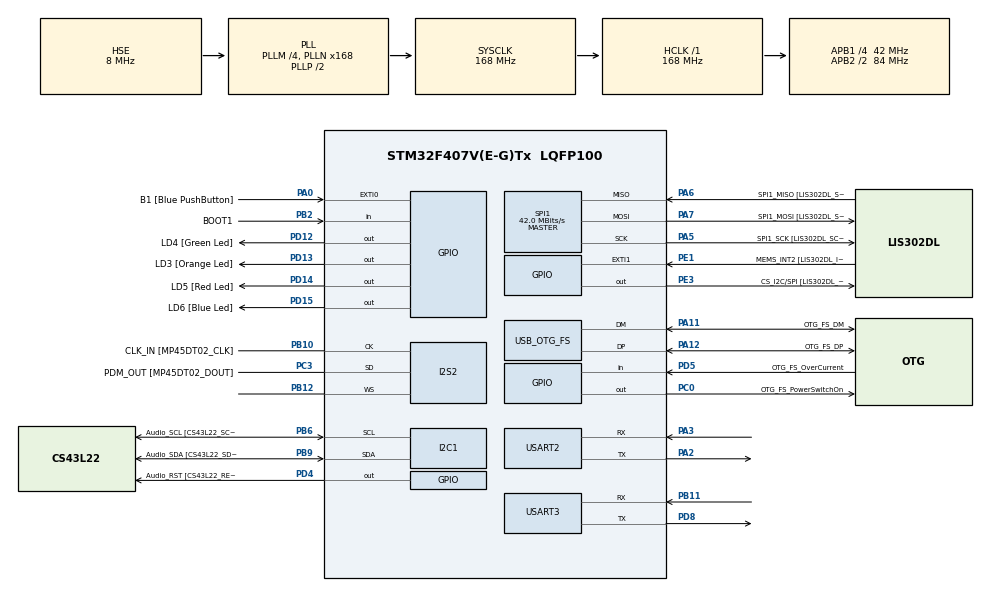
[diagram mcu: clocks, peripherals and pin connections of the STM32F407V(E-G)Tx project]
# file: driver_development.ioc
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Dma.Request0=SPI2_RX
Dma.SPI2_RX.0.Direction=DMA_PERIPH_TO_MEMORY
Dma.SPI2_RX.0.FIFOMode=DMA_FIFOMODE_DISABLE
Dma.SPI2_RX.0.Instance=DMA1_Stream3
Dma.SPI2_RX.0.MemDataAlignment=DMA_MDATAALIGN_HALFWORD
Dma.SPI2_RX.0.MemInc=DMA_MINC_ENABLE
Dma.SPI2_RX.0.Mode=DMA_CIRCULAR
Dma.SPI2_RX.0.PeriphDataAlignment=DMA_PDATAALIGN_HALFWORD
Dma.SPI2_RX.0.PeriphInc=DMA_PINC_DISABLE
Dma.SPI2_RX.0.Priority=DMA_PRIORITY_LOW
FREERTOS.Tasks01=defaultTask,24,128,StartDefaultTask,Default,NULL,Dynamic,NULL,NULL
FREERTOS.configUSE_NEWLIB_REENTRANT=1
I2S2.AudioFreq=I2S_AUDIOFREQ_32K
I2S2.ErrorAudioFreq=-0.26 %
I2S2.FullDuplexMode=I2S_FULLDUPLEXMODE_DISABLE
I2S2.Instance=SPI$Index
I2S2.Mode=I2S_MODE_MASTER_RX
I2S2.RealAudioFreq=31.914 KHz
I2S2.Standard=I2S_STANDARD_MSB
I2S2.VirtualMode=I2S_MODE_MASTER
Mcu.Family=STM32F4
Mcu.Name=STM32F407V(E-G)Tx
Mcu.Package=LQFP100
NVIC.DMA1_Stream3_IRQn=true\:5\:0\:false\:false\:true\:true\:false\:true\:true
NVIC.OTG_FS_IRQn=true\:5\:0\:false\:false\:true\:true\:true\:true\:true
NVIC.PriorityGroup=NVIC_PRIORITYGROUP_4
NVIC.TIM1_UP_TIM10_IRQn=true\:15\:0\:false\:false\:true\:false\:false\:true\:true
NVIC.TimeBase=TIM1_UP_TIM10_IRQn
NVIC.TimeBaseIP=TIM1
NVIC.USART3_IRQn=true\:5\:0\:false\:false\:true\:true\:true\:true\:true
PA0-WKUP.GPIO_Label=B1 [Blue PushButton]
PA0-WKUP.Signal=GPXTI0
PA10.GPIO_Label=OTG_FS_ID
PA10.GPIO_Mode=GPIO_MODE_AF_PP
PA10.GPIO_PuPd=GPIO_NOPULL
PA10.GPIO_Speed=GPIO_SPEED_FREQ_LOW
PA10.Signal=USB_OTG_FS_ID
PA11.GPIO_Label=OTG_FS_DM
PA11.GPIO_Mode=GPIO_MODE_AF_PP
PA11.GPIO_PuPd=GPIO_NOPULL
PA11.GPIO_Speed=GPIO_SPEED_FREQ_LOW
PA11.Mode=Host_Only
PA11.Signal=USB_OTG_FS_DM
PA12.GPIO_Label=OTG_FS_DP
PA12.GPIO_Mode=GPIO_MODE_AF_PP
PA12.GPIO_PuPd=GPIO_NOPULL
PA12.GPIO_Speed=GPIO_SPEED_FREQ_LOW
PA12.Mode=Host_Only
PA12.Signal=USB_OTG_FS_DP
PA13.GPIO_Label=SWDIO
PA13.Mode=Serial_Wire
PA13.Signal=SYS_JTMS-SWDIO
PA14.GPIO_Label=SWCLK
PA14.Mode=Serial_Wire
PA14.Signal=SYS_JTCK-SWCLK
PA2.Mode=Asynchronous
PA2.Signal=USART2_TX
PA3.Mode=Asynchronous
PA3.Signal=USART2_RX
PA4.GPIO_Label=I2S3_WS [CS43L22_LRCK]
PA4.GPIO_Mode=GPIO_MODE_AF_PP
PA4.GPIO_PuPd=GPIO_NOPULL
PA4.GPIO_Speed=GPIO_SPEED_FREQ_LOW
PA4.Signal=I2S3_WS
PA5.GPIO_Label=SPI1_SCK [LIS302DL_SCL/SPC]
PA5.GPIO_Mode=GPIO_MODE_AF_PP
PA5.GPIO_PuPd=GPIO_NOPULL
PA5.GPIO_Speed=GPIO_SPEED_FREQ_LOW
PA5.Mode=Full_Duplex_Master
PA5.Signal=SPI1_SCK
PA6.GPIO_Label=SPI1_MISO [LIS302DL_SDO]
PA6.GPIO_Mode=GPIO_MODE_AF_PP
PA6.GPIO_PuPd=GPIO_NOPULL
PA6.GPIO_Speed=GPIO_SPEED_FREQ_LOW
PA6.Mode=Full_Duplex_Master
PA6.Signal=SPI1_MISO
PA7.GPIO_Label=SPI1_MOSI [LIS302DL_SDA/SDI/SDO]
PA7.GPIO_Mode=GPIO_MODE_AF_PP
PA7.GPIO_PuPd=GPIO_NOPULL
PA7.GPIO_Speed=GPIO_SPEED_FREQ_LOW
PA7.Mode=Full_Duplex_Master
PA7.Signal=SPI1_MOSI
PA9.GPIO_Label=VBUS_FS
PA9.GPIO_Mode=GPIO_MODE_INPUT
PA9.GPIO_PuPd=GPIO_NOPULL
PA9.Signal=USB_OTG_FS_VBUS
PB10.GPIO_Label=CLK_IN [MP45DT02_CLK]
PB10.GPIO_Mode=GPIO_MODE_AF_PP
PB10.GPIO_PuPd=GPIO_NOPULL
PB10.GPIO_Speed=GPIO_SPEED_FREQ_LOW
PB10.Mode=Half_Duplex_Master
PB10.Signal=I2S2_CK
PB11.Mode=Asynchronous
PB11.Signal=USART3_RX
PB12.Mode=Half_Duplex_Master
PB12.Signal=I2S2_WS
PB2.GPIO_Label=BOOT1
PB2.GPIO_Mode=GPIO_MODE_INPUT
PB2.GPIO_PuPd=GPIO_NOPULL
PB2.Signal=GPIO_Input
PB3.GPIO_Label=SWO
PB3.Signal=SYS_JTDO-SWO
PB6.GPIO_Label=Audio_SCL [CS43L22_SCL]
PB6.GPIO_Mode=GPIO_MODE_AF_OD
PB6.GPIO_PuPd=GPIO_NOPULL
PB6.GPIO_Speed=GPIO_SPEED_FREQ_LOW
PB6.Mode=I2C
PB6.Signal=I2C1_SCL
PB9.GPIO_Label=Audio_SDA [CS43L22_SDA]
PB9.GPIO_Mode=GPIO_MODE_AF_OD
PB9.GPIO_PuPd=GPIO_NOPULL
PB9.GPIO_Speed=GPIO_SPEED_FREQ_LOW
PB9.Mode=I2C
PB9.Signal=I2C1_SDA
PC0.GPIO_Label=OTG_FS_PowerSwitchOn
PC0.GPIO_PuPd=GPIO_NOPULL
PC0.GPIO_Speed=GPIO_SPEED_FREQ_LOW
PC0.PinState=GPIO_PIN_SET
PC0.Signal=GPIO_Output
PC10.GPIO_Label=I2S3_SCK [CS43L22_SCLK]
PC10.GPIO_Mode=GPIO_MODE_AF_PP
PC10.GPIO_PuPd=GPIO_NOPULL
PC10.GPIO_Speed=GPIO_SPEED_FREQ_LOW
PC10.Signal=I2S3_CK
PC12.GPIO_Label=I2S3_SD [CS43L22_SDIN]
PC12.GPIO_Mode=GPIO_MODE_AF_PP
PC12.GPIO_PuPd=GPIO_NOPULL
PC12.GPIO_Speed=GPIO_SPEED_FREQ_LOW
PC12.Signal=I2S3_SD
PC14-OSC32_IN.GPIO_Label=PC14-OSC32_IN
PC14-OSC32_IN.Signal=RCC_OSC32_IN
PC15-OSC32_OUT.GPIO_Label=PC15-OSC32_OUT
PC15-OSC32_OUT.Signal=RCC_OSC32_OUT
PC3.GPIO_Label=PDM_OUT [MP45DT02_DOUT]
PC3.GPIO_Mode=GPIO_MODE_AF_PP
PC3.GPIO_PuPd=GPIO_NOPULL
PC3.GPIO_Speed=GPIO_SPEED_FREQ_LOW
PC3.Mode=Half_Duplex_Master
PC3.Signal=I2S2_SD
PC7.GPIO_Label=I2S3_MCK [CS43L22_MCLK]
PC7.GPIO_Mode=GPIO_MODE_AF_PP
PC7.GPIO_PuPd=GPIO_NOPULL
PC7.GPIO_Speed=GPIO_SPEED_FREQ_LOW
PC7.Signal=I2S3_MCK
PD12.GPIO_Label=LD4 [Green Led]
PD12.GPIO_PuPd=GPIO_NOPULL
PD12.GPIO_Speed=GPIO_SPEED_FREQ_LOW
PD12.Signal=GPIO_Output
PD13.GPIO_Label=LD3 [Orange Led]
PD13.GPIO_PuPd=GPIO_NOPULL
PD13.GPIO_Speed=GPIO_SPEED_FREQ_LOW
PD13.Signal=GPIO_Output
PD14.GPIO_Label=LD5 [Red Led]
PD14.GPIO_PuPd=GPIO_NOPULL
PD14.GPIO_Speed=GPIO_SPEED_FREQ_LOW
PD14.Signal=GPIO_Output
PD15.GPIO_Label=LD6 [Blue Led]
PD15.GPIO_PuPd=GPIO_NOPULL
PD15.GPIO_Speed=GPIO_SPEED_FREQ_LOW
PD15.Signal=GPIO_Output
PD4.GPIO_Label=Audio_RST [CS43L22_RESET]
PD4.GPIO_PuPd=GPIO_NOPULL
PD4.GPIO_Speed=GPIO_SPEED_FREQ_LOW
PD4.Signal=GPIO_Output
PD5.GPIO_Label=OTG_FS_OverCurrent
PD5.GPIO_Mode=GPIO_MODE_INPUT
PD5.GPIO_PuPd=GPIO_NOPULL
PD5.Signal=GPIO_Input
PD8.Mode=Asynchronous
PD8.Signal=USART3_TX
PE1.GPIO_Label=MEMS_INT2 [LIS302DL_INT2]
PE1.GPIO_ModeDefaultEXTI=GPIO_MODE_EVT_RISING
PE1.GPIO_PuPd=GPIO_NOPULL
PE1.Signal=GPXTI1
PE3.GPIO_Label=CS_I2C/SPI [LIS302DL_CS_I2C/SPI]
PE3.GPIO_PuPd=GPIO_NOPULL
PE3.GPIO_Speed=GPIO_SPEED_FREQ_LOW
PE3.Signal=GPIO_Output
PH0-OSC_IN.GPIO_Label=PH0-OSC_IN
PH0-OSC_IN.Mode=HSE-External-Oscillator
PH0-OSC_IN.Signal=RCC_OSC_IN
PH1-OSC_OUT.GPIO_Label=PH1-OSC_OUT
PH1-OSC_OUT.Mode=HSE-External-Oscillator
PH1-OSC_OUT.Signal=RCC_OSC_OUT
ProjectManager.HeapSize=0x200
ProjectManager.StackSize=0x400
ProjectManager.TargetToolchain=STM32CubeIDE
RCC.48MHZClocksFreq_Value=48000000
RCC.AHBFreq_Value=168000000
RCC.APB1CLKDivider=RCC_HCLK_DIV4
RCC.APB1Freq_Value=42000000
RCC.APB1TimFreq_Value=84000000
RCC.APB2CLKDivider=RCC_HCLK_DIV2
RCC.APB2Freq_Value=84000000
RCC.APB2TimFreq_Value=168000000
RCC.CortexFreq_Value=168000000
RCC.HCLKFreq_Value=168000000
RCC.HSE_VALUE=8000000
RCC.HSI_VALUE=16000000
RCC.LSE_VALUE=32768
RCC.PLLM=4
RCC.PLLN=168
RCC.PLLP=2
RCC.PLLQ=7
RCC.SYSCLKFreq_VALUE=168000000
RCC.SYSCLKSource=RCC_SYSCLKSOURCE_PLLCLK
RCC.VCOOutputFreq_Value=336000000
SPI1.CalculateBaudRate=42.0 MBits/s
SPI1.Direction=SPI_DIRECTION_2LINES
SPI1.Mode=SPI_MODE_MASTER
SPI1.VirtualType=VM_MASTER
STMicroelectronics.FP-SNS-STAIOTCFT.1.1.0.MathOoLibCcCMSISJjDSPJjLib=true
STMicroelectronics.X-CUBE-AI.10.2.0.HeapSize=0x800
STMicroelectronics.X-CUBE-AI.10.2.0.ReadyForCodeGeneration=false
STMicroelectronics.X-CUBE-AI.10.2.0.StackSize=0x800
STMicroelectronics.X-CUBE-AI.10.2.0.XAaCUBEAaAICcArtificialOoIntelligenceJjCore=true
USART2.VirtualMode=VM_ASYNC
USART3.VirtualMode=VM_ASYNC
USB_HOST.BSP.number=1
USB_HOST.USBH_HandleTypeDef-CDC_FS=hUsbHostFS
USB_HOST.VirtualModeFS=Cdc
USB_HOST0.BSP.STBoard=false
USB_HOST0.BSP.api=Unknown
USB_HOST0.BSP.condition=SW_VBUS_DRIVE_CDC_FS \= false
USB_HOST0.BSP.instance=PC0
USB_HOST0.BSP.ip=GPIO
USB_HOST0.BSP.mode=Output
USB_HOST0.BSP.name=Drive_VBUS_FS
USB_HOST0.BSP.solution=PC0
USB_OTG_FS.VirtualMode=Host_Only
USB_OTG_FS.phy_itface=HCD_PHY_EMBEDDED
VP_CRC_VS_CRC.Mode=CRC_Activate
VP_FREERTOS_VS_CMSIS_V2.Mode=CMSIS_V2
VP_PDM2PCM_VS_PDM2PCM.Mode=PDM2PCM_Channel
VP_STMicroelectronics.FP-SNS-STAIOTCFT_VS_CMSISJjMathOoLib_1.0.0_1.1.0.Mode=CMSISJjMathOoLib
VP_STMicroelectronics.X-CUBE-AI_VS_ArtificialOoIntelligenceJjXAaCUBEAaAI_10.2.0.Mode=ArtificialOoIntelligenceJjXAaCUBEAaAI
VP_SYS_VS_tim1.Mode=TIM1
VP_USB_HOST_VS_USB_HOST_CDC_FS.Mode=CDC_FS
board=STM32F407G-DISC1

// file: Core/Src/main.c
/* USER CODE BEGIN Header */
/**
  ******************************************************************************
  * @file           : main.c
  * @brief          : Main program body
  ******************************************************************************
  * @attention
  *
  * Copyright (c) 2026 STMicroelectronics.
  * All rights reserved.
  *
  * This software is licensed under terms that can be found in the LICENSE file
  * in the root directory of this software component.
  * If no LICENSE file comes with this software, it is provided AS-IS.
  *
  ******************************************************************************
  */
/* USER CODE END Header */
#include "main.h"
#include "cmsis_os.h"
#include "usb_host.h"

/* USER CODE BEGIN Includes */
#include <stdio.h>
#include <stdlib.h>
#include "at_command.h"
#include "cellular.h"
#include "microphone.h"
#include "mqtt.h"
#include "audio_dsp.h"
#include "ai_app.h"
/* USER CODE END Includes */

CRC_HandleTypeDef hcrc;

I2C_HandleTypeDef hi2c1;

I2S_HandleTypeDef hi2s2;
DMA_HandleTypeDef hdma_spi2_rx;

SPI_HandleTypeDef hspi1;

UART_HandleTypeDef huart2;
UART_HandleTypeDef huart3;

/* Definitions for defaultTask */
osThreadId_t defaultTaskHandle;
const osThreadAttr_t defaultTask_attributes = {
  .name = "defaultTask",
  .stack_size = 1024 * 4,
  .priority = (osPriority_t) osPriorityNormal,
};
/* USER CODE BEGIN PV */

// --- 1. AUDIO AND AI BUFFERS ---
#define AUDIO_SAMPLE_RATE     16000
#define AUDIO_DURATION_SEC    1
#define AUDIO_BUFFER_SIZE     (AUDIO_SAMPLE_RATE * AUDIO_DURATION_SEC) // 1 second of data (16000)

// 16-bit PCM raw audio buffer filled via DMA
//int16_t pcm_audio_buffer[AUDIO_BUFFER_SIZE];

__attribute__((section(".ccmram"))) int16_t pcm_audio_buffer[AUDIO_BUFFER_SIZE];

// --- 4. CELLULAR NETWORK, MQTT AND RTOS VARIABLES ---
extern UART_HandleTypeDef huart3;
UART_HandleTypeDef UartHandle;

osMutexId_t at_driver_mutexHandle;
const osMutexAttr_t at_driver_mutex_attributes = {
  .name = "at_driver_mutex"
};

// Handle definitions for other tasks
osThreadId_t networkTaskHandle;

const osThreadAttr_t networkTask_attributes = {
  .name = "networkTask",
  .stack_size = 1024 * 4, // Large stack to avoid exceeding limits
  .priority = (osPriority_t) osPriorityNormal,
};

osThreadId_t micTaskHandle;
const osThreadAttr_t micTask_attributes = {
  .name = "MicTask",
  .stack_size = 1024 * 4,
  .priority = (osPriority_t) osPriorityAboveNormal, // High priority to avoid audio dropouts
};

/* USER CODE END PV */

void SystemClock_Config(void);
static void MX_GPIO_Init(void);
static void MX_DMA_Init(void);
static void MX_I2C1_Init(void);
static void MX_SPI1_Init(void);
static void MX_USART2_UART_Init(void);
static void MX_USART3_UART_Init(void);
static void MX_CRC_Init(void);
static void MX_I2S2_Init(void);
void StartDefaultTask(void *argument);

/* USER CODE BEGIN PFP */
void StartMicTask(void *argument);
void StartNetworkTask(void *argument);
/* USER CODE END PFP */

int main(void)
{

  /* MCU Configuration--------------------------------------------------------*/

  /* Reset of all peripherals, Initializes the Flash interface and the Systick. */
  HAL_Init();

  /* Configure the system clock */
  SystemClock_Config();

  /* Initialize all configured peripherals */
  MX_GPIO_Init();
  MX_DMA_Init();
  MX_I2C1_Init();
  MX_SPI1_Init();
  MX_USART2_UART_Init();
  MX_USART3_UART_Init();
  MX_CRC_Init();
  MX_I2S2_Init();
  /* USER CODE BEGIN 2 */

  AtCommand_Open(NULL);

  /* USER CODE END 2 */

  /* Init scheduler */
  osKernelInitialize();

  /* USER CODE BEGIN RTOS_MUTEX */
  at_driver_mutexHandle = osMutexNew(&at_driver_mutex_attributes);

  /* USER CODE END RTOS_MUTEX */

  /* Create the thread(s) */
  /* creation of defaultTask */
  defaultTaskHandle = osThreadNew(StartDefaultTask, NULL, &defaultTask_attributes);

  /* USER CODE BEGIN RTOS_THREADS */
  networkTaskHandle = osThreadNew(StartNetworkTask, NULL, &networkTask_attributes);
  // Create thread for microphone data processing
  micTaskHandle = osThreadNew(StartMicTask, NULL, &micTask_attributes);
  /* USER CODE END RTOS_THREADS */

  /* Start scheduler */
  osKernelStart();

  /* We should never get here as control is now taken by the scheduler */

  /* Infinite loop */
  while (1)
  {

  }
}

void SystemClock_Config(void)
{
  RCC_OscInitTypeDef RCC_OscInitStruct = {0};
  RCC_ClkInitTypeDef RCC_ClkInitStruct = {0};

  /** Configure the main internal regulator output voltage
  */
  __HAL_RCC_PWR_CLK_ENABLE();
  __HAL_PWR_VOLTAGESCALING_CONFIG(PWR_REGULATOR_VOLTAGE_SCALE1);

  /** Initializes the RCC Oscillators according to the specified parameters
  * in the RCC_OscInitTypeDef structure.
  */
  RCC_OscInitStruct.OscillatorType = RCC_OSCILLATORTYPE_HSE;
  RCC_OscInitStruct.HSEState = RCC_HSE_ON;
  RCC_OscInitStruct.PLL.PLLState = RCC_PLL_ON;
  RCC_OscInitStruct.PLL.PLLSource = RCC_PLLSOURCE_HSE;
  RCC_OscInitStruct.PLL.PLLM = 4;
  RCC_OscInitStruct.PLL.PLLN = 168;
  RCC_OscInitStruct.PLL.PLLP = 2;
  RCC_OscInitStruct.PLL.PLLQ = 7;
  if (HAL_RCC_OscConfig(&RCC_OscInitStruct) != HAL_OK)
  {
    Error_Handler();
  }

  /** Initializes the CPU, AHB and APB buses clocks
  */
  RCC_ClkInitStruct.ClockType = RCC_CLOCKTYPE_HCLK|RCC_CLOCKTYPE_SYSCLK
                              |RCC_CLOCKTYPE_PCLK1|RCC_CLOCKTYPE_PCLK2;
  RCC_ClkInitStruct.SYSCLKSource = RCC_SYSCLKSOURCE_PLLCLK;
  RCC_ClkInitStruct.AHBCLKDivider = RCC_SYSCLK_DIV1;
  RCC_ClkInitStruct.APB1CLKDivider = RCC_HCLK_DIV4;
  RCC_ClkInitStruct.APB2CLKDivider = RCC_HCLK_DIV2;

  if (HAL_RCC_ClockConfig(&RCC_ClkInitStruct, FLASH_LATENCY_5) != HAL_OK)
  {
    Error_Handler();
  }
}

static void MX_CRC_Init(void)
{

  hcrc.Instance = CRC;
  if (HAL_CRC_Init(&hcrc) != HAL_OK)
  {
    Error_Handler();
  }
  __HAL_CRC_DR_RESET(&hcrc);

}

static void MX_I2C1_Init(void)
{

  hi2c1.Instance = I2C1;
  hi2c1.Init.ClockSpeed = 100000;
  hi2c1.Init.DutyCycle = I2C_DUTYCYCLE_2;
  hi2c1.Init.OwnAddress1 = 0;
  hi2c1.Init.AddressingMode = I2C_ADDRESSINGMODE_7BIT;
  hi2c1.Init.DualAddressMode = I2C_DUALADDRESS_DISABLE;
  hi2c1.Init.OwnAddress2 = 0;
  hi2c1.Init.GeneralCallMode = I2C_GENERALCALL_DISABLE;
  hi2c1.Init.NoStretchMode = I2C_NOSTRETCH_DISABLE;
  if (HAL_I2C_Init(&hi2c1) != HAL_OK)
  {
    Error_Handler();
  }

}

static void MX_I2S2_Init(void)
{

  hi2s2.Instance = SPI2;
  hi2s2.Init.Mode = I2S_MODE_MASTER_RX;
  hi2s2.Init.Standard = I2S_STANDARD_MSB;
  hi2s2.Init.DataFormat = I2S_DATAFORMAT_16B;
  hi2s2.Init.MCLKOutput = I2S_MCLKOUTPUT_DISABLE;
  hi2s2.Init.AudioFreq = I2S_AUDIOFREQ_32K;
  hi2s2.Init.CPOL = I2S_CPOL_LOW;
  hi2s2.Init.ClockSource = I2S_CLOCK_PLL;
  hi2s2.Init.FullDuplexMode = I2S_FULLDUPLEXMODE_DISABLE;
  if (HAL_I2S_Init(&hi2s2) != HAL_OK)
  {
    Error_Handler();
  }

}

static void MX_SPI1_Init(void)
{

  /* SPI1 parameter configuration*/
  hspi1.Instance = SPI1;
  hspi1.Init.Mode = SPI_MODE_MASTER;
  hspi1.Init.Direction = SPI_DIRECTION_2LINES;
  hspi1.Init.DataSize = SPI_DATASIZE_8BIT;
  hspi1.Init.CLKPolarity = SPI_POLARITY_LOW;
  hspi1.Init.CLKPhase = SPI_PHASE_1EDGE;
  hspi1.Init.NSS = SPI_NSS_SOFT;
  hspi1.Init.BaudRatePrescaler = SPI_BAUDRATEPRESCALER_2;
  hspi1.Init.FirstBit = SPI_FIRSTBIT_MSB;
  hspi1.Init.TIMode = SPI_TIMODE_DISABLE;
  hspi1.Init.CRCCalculation = SPI_CRCCALCULATION_DISABLE;
  hspi1.Init.CRCPolynomial = 10;
  if (HAL_SPI_Init(&hspi1) != HAL_OK)
  {
    Error_Handler();
  }

}

static void MX_USART2_UART_Init(void)
{

  huart2.Instance = USART2;
  huart2.Init.BaudRate = 115200;
  huart2.Init.WordLength = UART_WORDLENGTH_8B;
  huart2.Init.StopBits = UART_STOPBITS_1;
  huart2.Init.Parity = UART_PARITY_NONE;
  huart2.Init.Mode = UART_MODE_TX_RX;
  huart2.Init.HwFlowCtl = UART_HWCONTROL_NONE;
  huart2.Init.OverSampling = UART_OVERSAMPLING_16;
  if (HAL_UART_Init(&huart2) != HAL_OK)
  {
    Error_Handler();
  }

}

static void MX_USART3_UART_Init(void)
{

  huart3.Instance = USART3;
  huart3.Init.BaudRate = 115200;
  huart3.Init.WordLength = UART_WORDLENGTH_8B;
  huart3.Init.StopBits = UART_STOPBITS_1;
  huart3.Init.Parity = UART_PARITY_NONE;
  huart3.Init.Mode = UART_MODE_TX_RX;
  huart3.Init.HwFlowCtl = UART_HWCONTROL_NONE;
  huart3.Init.OverSampling = UART_OVERSAMPLING_16;
  if (HAL_UART_Init(&huart3) != HAL_OK)
  {
    Error_Handler();
  }

}

static void MX_DMA_Init(void)
{

  /* DMA controller clock enable */
  __HAL_RCC_DMA1_CLK_ENABLE();

  /* DMA interrupt init */
  /* DMA1_Stream3_IRQn interrupt configuration */
  HAL_NVIC_SetPriority(DMA1_Stream3_IRQn, 5, 0);
  HAL_NVIC_EnableIRQ(DMA1_Stream3_IRQn);

}

static void MX_GPIO_Init(void)
{
  GPIO_InitTypeDef GPIO_InitStruct = {0};

  /* GPIO Ports Clock Enable */
  __HAL_RCC_GPIOE_CLK_ENABLE();
  __HAL_RCC_GPIOC_CLK_ENABLE();
  __HAL_RCC_GPIOH_CLK_ENABLE();
  __HAL_RCC_GPIOA_CLK_ENABLE();
  __HAL_RCC_GPIOB_CLK_ENABLE();
  __HAL_RCC_GPIOD_CLK_ENABLE();

  /*Configure GPIO pin Output Level */
  HAL_GPIO_WritePin(CS_I2C_SPI_GPIO_Port, CS_I2C_SPI_Pin, GPIO_PIN_RESET);

  /*Configure GPIO pin Output Level */
  HAL_GPIO_WritePin(OTG_FS_PowerSwitchOn_GPIO_Port, OTG_FS_PowerSwitchOn_Pin, GPIO_PIN_SET);

  /*Configure GPIO pin Output Level */
  HAL_GPIO_WritePin(GPIOD, LD4_Pin|LD3_Pin|LD5_Pin|LD6_Pin
                          |Audio_RST_Pin, GPIO_PIN_RESET);

  /*Configure GPIO pin : CS_I2C_SPI_Pin */
  GPIO_InitStruct.Pin = CS_I2C_SPI_Pin;
  GPIO_InitStruct.Mode = GPIO_MODE_OUTPUT_PP;
  GPIO_InitStruct.Pull = GPIO_NOPULL;
  GPIO_InitStruct.Speed = GPIO_SPEED_FREQ_LOW;
  HAL_GPIO_Init(CS_I2C_SPI_GPIO_Port, &GPIO_InitStruct);

  /*Configure GPIO pin : OTG_FS_PowerSwitchOn_Pin */
  GPIO_InitStruct.Pin = OTG_FS_PowerSwitchOn_Pin;
  GPIO_InitStruct.Mode = GPIO_MODE_OUTPUT_PP;
  GPIO_InitStruct.Pull = GPIO_NOPULL;
  GPIO_InitStruct.Speed = GPIO_SPEED_FREQ_LOW;
  HAL_GPIO_Init(OTG_FS_PowerSwitchOn_GPIO_Port, &GPIO_InitStruct);

  /*Configure GPIO pin : B1_Pin */
  GPIO_InitStruct.Pin = B1_Pin;
  GPIO_InitStruct.Mode = GPIO_MODE_IT_RISING;
  GPIO_InitStruct.Pull = GPIO_NOPULL;
  HAL_GPIO_Init(B1_GPIO_Port, &GPIO_InitStruct);

  /*Configure GPIO pin : BOOT1_Pin */
  GPIO_InitStruct.Pin = BOOT1_Pin;
  GPIO_InitStruct.Mode = GPIO_MODE_INPUT;
  GPIO_InitStruct.Pull = GPIO_NOPULL;
  HAL_GPIO_Init(BOOT1_GPIO_Port, &GPIO_InitStruct);

  /*Configure GPIO pins : LD4_Pin LD3_Pin LD5_Pin LD6_Pin
                           Audio_RST_Pin */
  GPIO_InitStruct.Pin = LD4_Pin|LD3_Pin|LD5_Pin|LD6_Pin
                          |Audio_RST_Pin;
  GPIO_InitStruct.Mode = GPIO_MODE_OUTPUT_PP;
  GPIO_InitStruct.Pull = GPIO_NOPULL;
  GPIO_InitStruct.Speed = GPIO_SPEED_FREQ_LOW;
  HAL_GPIO_Init(GPIOD, &GPIO_InitStruct);

  /*Configure GPIO pin : OTG_FS_OverCurrent_Pin */
  GPIO_InitStruct.Pin = OTG_FS_OverCurrent_Pin;
  GPIO_InitStruct.Mode = GPIO_MODE_INPUT;
  GPIO_InitStruct.Pull = GPIO_NOPULL;
  HAL_GPIO_Init(OTG_FS_OverCurrent_GPIO_Port, &GPIO_InitStruct);

  /*Configure GPIO pin : MEMS_INT2_Pin */
  GPIO_InitStruct.Pin = MEMS_INT2_Pin;
  GPIO_InitStruct.Mode = GPIO_MODE_EVT_RISING;
  GPIO_InitStruct.Pull = GPIO_NOPULL;
  HAL_GPIO_Init(MEMS_INT2_GPIO_Port, &GPIO_InitStruct);

}

/* USER CODE BEGIN 4 */

void StartNetworkTask(void *argument)
{
  // NETWORK SETUP LOOP
	for(;;)
	{
    // 1. Can we reach the modem?
		if (Cellular_CheckDevice() == E_AT_ERR_NONE)
		{
      // 2. Are we attached to the cellular network?
			if (Cellular_SetupNetwork() == E_AT_ERR_NONE)
			{
        // 3. CLEANUP STALE CONNECTION
        // MCU may have reset while modem stayed connected — reset connection state.
        MQTT_CloseBroker();
        osDelay(2000); // Wait for modem socket to close

        // 4. Connect to Broker
				if (MQTT_OpenBroker("broker.hivemq.com", 1883) == E_AT_ERR_NONE)
				{
          // 5. Client connect
          if (MQTT_ConnectClient("Alpon_Test_Device_01", NULL, NULL) == E_AT_ERR_NONE)
					{
            MQTT_Publish("speech_recognition/mqtt_status", "MQTT Connection Successful! Device Online.");

						osDelay(5000);

            // 6. MAIN PUBLISH LOOP (stays here until connection drops)
						while(1)
						{
              // Send message and check result
              atCommandErrorCodes_t pub_status = MQTT_Publish("speech_recognition/mqtt_status", "Device is still running...");

              // If publish failed (connection lost, modem locked, etc.)
							if (pub_status != E_AT_ERR_NONE)
							{
                // Break inner loop so the code falls through to the outer retry logic
                // which will call MQTT_CloseBroker() and attempt reconnect.
								break;
							}

              osDelay(10000); // If OK, continue pinging every 10 seconds
						}
					}
				}
			}
		}

    // If we reach here: modem not responding, internet down, or broker dropped.
    // On error wait 2 seconds and retry from the start (cleanup first).
		osDelay(2000);
	}

}

// --- 4. MAIN MICROPHONE TASK ---
void StartMicTask(void *argument)
{
  // 1. Initialize systems
  My_AI_Init();
  AudioDSP_Init();

  // 2. Start new microphone driver
  Microphone_Open(NULL);

  for(;;)
  {
    // STEP 1: Record audio
    // This call blocks until the buffer is filled (16000 samples).
    if (Microphone_Read(pcm_audio_buffer, AUDIO_BUFFER_SIZE) == E_MIC_ERR_NONE)
    {
      // STEP 2: Send to AI
      Process_Audio_To_MelSpectrogram(pcm_audio_buffer, stai_input_buffer);
      My_AI_Run(stai_input_buffer, stai_output_buffer);

      // STEP 3: Decide and publish via MQTT
            float prob_yes   = stai_output_buffer[2];
            float prob_no    = stai_output_buffer[0];

            if (prob_yes > 0.75f) {
                HAL_GPIO_WritePin(GPIOD, LD4_Pin, GPIO_PIN_SET);
                HAL_GPIO_WritePin(GPIOD, LD3_Pin, GPIO_PIN_RESET);
                MQTT_Publish("speech_recognition/result", "1");
                osDelay(50);
            }
            else if (prob_no > 0.75f) {
                HAL_GPIO_WritePin(GPIOD, LD4_Pin, GPIO_PIN_RESET);
                HAL_GPIO_WritePin(GPIOD, LD3_Pin, GPIO_PIN_SET);
                MQTT_Publish("speech_recognition/result", "0");
                osDelay(50);
            }
            else {
                HAL_GPIO_WritePin(GPIOD, LD4_Pin, GPIO_PIN_RESET);
                HAL_GPIO_WritePin(GPIOD, LD3_Pin, GPIO_PIN_RESET);
            }
        }

        // Small delay to yield to RTOS
        osDelay(10);
    }
}

/* USER CODE END 4 */

void StartDefaultTask(void *argument)
{
  /* init code for USB_HOST */
  MX_USB_HOST_Init();

  /* USER CODE BEGIN 5 */

  /* Infinite loop */
  for(;;)
  {
    // Default task finished work; enter idle delay to reduce CPU load
    osDelay(2000);
  }
  /* USER CODE END 5 */
}

void HAL_TIM_PeriodElapsedCallback(TIM_HandleTypeDef *htim)
{
  if (htim->Instance == TIM1)
  {
    HAL_IncTick();
  }
}

void Error_Handler(void)
{
  __disable_irq();
  while (1)
  {
  }
}
